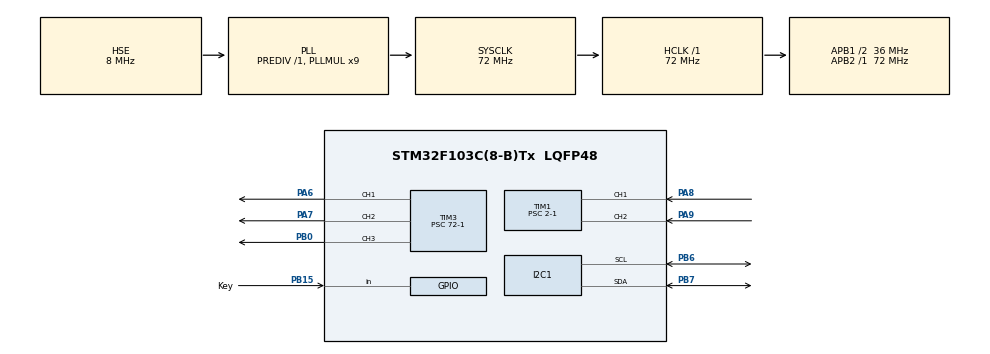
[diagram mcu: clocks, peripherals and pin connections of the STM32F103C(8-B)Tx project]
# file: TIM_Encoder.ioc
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Mcu.Family=STM32F1
Mcu.Name=STM32F103C(8-B)Tx
Mcu.Package=LQFP48
NVIC.PriorityGroup=NVIC_PRIORITYGROUP_4
PA13.Mode=Serial_Wire
PA13.Signal=SYS_JTMS-SWDIO
PA14.Mode=Serial_Wire
PA14.Signal=SYS_JTCK-SWCLK
PA6.Signal=S_TIM3_CH1
PA7.Signal=S_TIM3_CH2
PA8.Signal=S_TIM1_CH1
PA9.Signal=S_TIM1_CH2
PB0.Signal=S_TIM3_CH3
PB15.GPIO_Label=Key
PB15.GPIO_PuPd=GPIO_PULLUP
PB15.Signal=GPIO_Input
PB6.Mode=I2C
PB6.Signal=I2C1_SCL
PB7.Mode=I2C
PB7.Signal=I2C1_SDA
PD0-OSC_IN.Mode=HSE-External-Oscillator
PD0-OSC_IN.Signal=RCC_OSC_IN
PD1-OSC_OUT.Mode=HSE-External-Oscillator
PD1-OSC_OUT.Signal=RCC_OSC_OUT
ProjectManager.HeapSize=0x200
ProjectManager.StackSize=0x400
ProjectManager.TargetToolchain=STM32CubeIDE
RCC.AHBFreq_Value=72000000
RCC.APB1CLKDivider=RCC_HCLK_DIV2
RCC.APB1Freq_Value=36000000
RCC.APB1TimFreq_Value=72000000
RCC.APB2Freq_Value=72000000
RCC.APB2TimFreq_Value=72000000
RCC.HCLKFreq_Value=72000000
RCC.PLLMUL=RCC_PLL_MUL9
RCC.PLLSourceVirtual=RCC_PLLSOURCE_HSE
RCC.SYSCLKFreq_VALUE=72000000
RCC.SYSCLKSource=RCC_SYSCLKSOURCE_PLLCLK
RCC.USBFreq_Value=72000000
SH.S_TIM1_CH1.0=TIM1_CH1,Encoder_Interface
SH.S_TIM1_CH2.0=TIM1_CH2,Encoder_Interface
SH.S_TIM3_CH1.0=TIM3_CH1,PWM Generation1 CH1
SH.S_TIM3_CH2.0=TIM3_CH2,PWM Generation2 CH2
SH.S_TIM3_CH3.0=TIM3_CH3,PWM Generation3 CH3
TIM1.IC1Filter=15
TIM1.IC2Filter=15
TIM1.IC2Polarity=TIM_ICPOLARITY_FALLING
TIM1.Prescaler=2-1
TIM3.Channel-PWM\ Generation1\ CH1=TIM_CHANNEL_1
TIM3.Channel-PWM\ Generation2\ CH2=TIM_CHANNEL_2
TIM3.Channel-PWM\ Generation3\ CH3=TIM_CHANNEL_3
TIM3.Prescaler=72-1
VP_TIM3_VS_ClockSourceINT.Mode=Internal
board=custom

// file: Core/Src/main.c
/* USER CODE BEGIN Header */
/**
  ******************************************************************************
  * @file           : main.c
  * @brief          : Main program body
  ******************************************************************************
  * @attention
  *
  * Copyright (c) 2026 STMicroelectronics.
  * All rights reserved.
  *
  * This software is licensed under terms that can be found in the LICENSE file
  * in the root directory of this software component.
  * If no LICENSE file comes with this software, it is provided AS-IS.
  *
  ******************************************************************************
  */
/* USER CODE END Header */
#include "main.h"
#include "i2c.h"
#include "tim.h"
#include "gpio.h"

/* USER CODE BEGIN Includes */
#include"oled.h"
#include<stdio.h>
/* USER CODE END Includes */

void SystemClock_Config(void);

int main(void)
{

  /* USER CODE BEGIN 1 */
	int channel_index = 0;
	uint32_t channels[3] = {TIM_CHANNEL_1, TIM_CHANNEL_2, TIM_CHANNEL_3};
	HAL_Delay(20);
	OLED_Init();

	HAL_TIM_Encoder_Start(&htim1, TIM_CHANNEL_ALL);

	HAL_TIM_PWM_Start(&htim3, channels[channel_index]);

	int counter = 0;
	char message[20] = "";
  /* USER CODE END 1 */

  /* MCU Configuration--------------------------------------------------------*/

  /* Reset of all peripherals, Initializes the Flash interface and the Systick. */
  HAL_Init();

  /* Configure the system clock */
  SystemClock_Config();

  /* Initialize all configured peripherals */
  MX_GPIO_Init();
  MX_I2C1_Init();
  MX_TIM1_Init();
  MX_TIM3_Init();

  /* Infinite loop */
  /* USER CODE BEGIN WHILE */
  while (1)
  {
	  OLED_NewFrame();

	  counter = __HAL_TIM_GET_COUNTER(&htim1);
	  if(counter > 6000){
		  counter = 0;
		  __HAL_TIM_SET_COUNTER(&htim1, 0);
	  }
	  if(counter > 100){
		  counter = 100;
		  __HAL_TIM_SET_COUNTER(&htim1, 100);
	  }

	  sprintf(message, "counter:%d", counter);
	  OLED_PrintString(0, 0, message, &font16x16, OLED_COLOR_NORMAL);

	  if(HAL_GPIO_ReadPin(Key_GPIO_Port, Key_Pin) == GPIO_PIN_RESET){
		  HAL_Delay(10);
		  if((HAL_GPIO_ReadPin(Key_GPIO_Port, Key_Pin) == GPIO_PIN_RESET)){
			  HAL_TIM_PWM_Stop(&htim3, channels[channel_index]);
			  channel_index = (channel_index + 1) % 3;
			  HAL_TIM_PWM_Start(&htim3, channels[channel_index]);
		  }
		  while(HAL_GPIO_ReadPin(Key_GPIO_Port, Key_Pin) == GPIO_PIN_RESET);
	  }

	  __HAL_TIM_SET_COMPARE(&htim3, channels[channel_index], counter);

	  OLED_ShowFrame();
	  HAL_Delay(100);
    /* USER CODE END WHILE */

  }
}

void SystemClock_Config(void)
{
  RCC_OscInitTypeDef RCC_OscInitStruct = {0};
  RCC_ClkInitTypeDef RCC_ClkInitStruct = {0};

  /** Initializes the RCC Oscillators according to the specified parameters
  * in the RCC_OscInitTypeDef structure.
  */
  RCC_OscInitStruct.OscillatorType = RCC_OSCILLATORTYPE_HSE;
  RCC_OscInitStruct.HSEState = RCC_HSE_ON;
  RCC_OscInitStruct.HSEPredivValue = RCC_HSE_PREDIV_DIV1;
  RCC_OscInitStruct.HSIState = RCC_HSI_ON;
  RCC_OscInitStruct.PLL.PLLState = RCC_PLL_ON;
  RCC_OscInitStruct.PLL.PLLSource = RCC_PLLSOURCE_HSE;
  RCC_OscInitStruct.PLL.PLLMUL = RCC_PLL_MUL9;
  if (HAL_RCC_OscConfig(&RCC_OscInitStruct) != HAL_OK)
  {
    Error_Handler();
  }

  /** Initializes the CPU, AHB and APB buses clocks
  */
  RCC_ClkInitStruct.ClockType = RCC_CLOCKTYPE_HCLK|RCC_CLOCKTYPE_SYSCLK
                              |RCC_CLOCKTYPE_PCLK1|RCC_CLOCKTYPE_PCLK2;
  RCC_ClkInitStruct.SYSCLKSource = RCC_SYSCLKSOURCE_PLLCLK;
  RCC_ClkInitStruct.AHBCLKDivider = RCC_SYSCLK_DIV1;
  RCC_ClkInitStruct.APB1CLKDivider = RCC_HCLK_DIV2;
  RCC_ClkInitStruct.APB2CLKDivider = RCC_HCLK_DIV1;

  if (HAL_RCC_ClockConfig(&RCC_ClkInitStruct, FLASH_LATENCY_2) != HAL_OK)
  {
    Error_Handler();
  }
}

void Error_Handler(void)
{
  __disable_irq();
  while (1)
  {
  }
}
